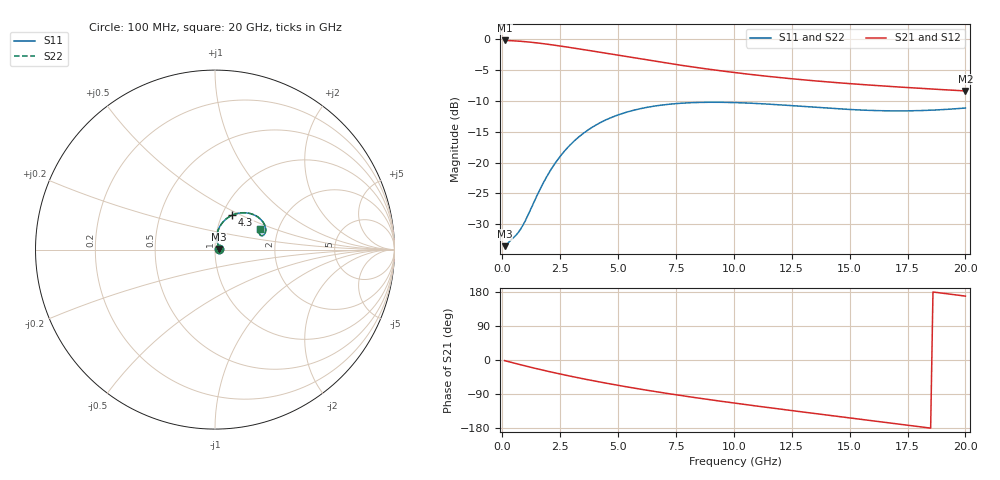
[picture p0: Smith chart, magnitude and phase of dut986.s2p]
! Touchstone file exported from HFSS 2024.1.0
!  File:  C:/UserFiles/LocalFiles/RDL_TSV_Batchsim/temp_RDL_TSV_986_1779974543.aedt
!  Generated:  09:34:27 PM May 28, 2026
!  Design:  RDL_TSV
!  Project:  temp_RDL_TSV_986_1779974543
!  Setup:  Setup1
!  Solution:  Sweep
! Variables:
!  dtsv = 10.78um
!  hbump = 3um
!  htsv = 59.23um
!  ldown = 388.85um
!  lrdl = 416.05um
!  p = 40
!  p1 = 42.44um
!  rhole = 10um
!  subl = 2830.75um
!  t = 450um
!  tdown = 2.62um
!  trdl = 4.55um
!  viad = 10um
!  wdown = 10.84um
!  wrdl = 20.99um
!  xbump = 18um
# GHz S MA R 50.000000
! Terminal data exported
! Port[1] = TM1_1_T1
! Port[2] = TM1_4_T1
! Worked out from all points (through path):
!   200 points, 100 MHz to 20 GHz, reference 50 ohm
!   highest |S21| = -0.18 dB at 100 MHz (marker M1); lowest = -8.4 dB at 20 GHz (marker M2)
!   group delay of S21, straight-line fit = 25.1 ps
!   lowest |S11| = -33.6 dB at 100 MHz (marker M3), VSWR 1.04, Z = 52.1 + j0.332 ohm
!   |S11| at or under -10 dB: start of sweep to end of sweep
!   |S22| runs from -33.6 to -10.2 dB; largest |S21 - S12| = 9.3e-15
!   S11 on the Smith chart (normalised r, x): 100 MHz: 1.04, +0.01; 4.3 GHz: 1.12, +0.45; 20 GHz: 1.61, +0.40
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0.1  0.02099 8.7  0.9789 -1.6  0.9789 -1.6  0.02099 8.7
! Gamma 0 0 0 0
! Port Impedance 50 0 50 0
0.6  0.02587 40.6  0.9695 -9.6  0.9695 -9.6  0.02587 40.6
0.8  0.02903 52.5  0.9637 -12.7  0.9637 -12.7  0.02903 52.5
1  0.03395 63.0  0.9567 -15.8  0.9567 -15.8  0.03394 63.0
1.3  0.04484 74.2  0.9445 -20.2  0.9445 -20.2  0.04482 74.2
1.8  0.07009 81.7  0.9204 -27.5  0.9204 -27.5  0.07006 81.7
2.2  0.09384 81.9  0.8991 -33.0  0.8991 -33.0  0.0938 82.0
2.6  0.1187 79.8  0.8769 -38.3  0.8769 -38.3  0.1187 79.8
3  0.1434 76.5  0.8542 -43.5  0.8542 -43.5  0.1433 76.5
3.5  0.1727 71.6  0.8257 -49.6  0.8257 -49.6  0.1727 71.6
4.3  0.2141 63.4  0.7807 -59.1  0.7807 -59.1  0.2141 63.5
5.4  0.2575 52.9  0.7219 -71.1  0.7219 -71.1  0.2576 52.9
6.8  0.2914 41.5  0.6547 -85.2  0.6547 -85.2  0.2915 41.5
7.6  0.3019 36.0  0.6208 -92.7  0.6208 -92.7  0.3021 36.1
8.4  0.3073 31.3  0.5903 -99.9  0.5903 -99.9  0.3075 31.4
10.1  0.3065 23.5  0.5357 -114.3  0.5357 -114.3  0.3069 23.6
11.7  0.2964 18.9  0.4955 -127.2  0.4955 -127.2  0.2969 18.9
13.4  0.2819 16.6  0.4621 -140.5  0.4621 -140.5  0.2825 16.6
15  0.2697 16.7  0.4371 -152.8  0.4371 -152.8  0.2703 16.7
16.7  0.2629 18.9  0.4153 -165.9  0.4153 -165.9  0.2636 18.9
18.3  0.2651 21.8  0.3978 -178.2  0.3978 -178.2  0.2658 21.7
20  0.277 24.6  0.3813 168.6  0.3813 168.6  0.2776 24.5
